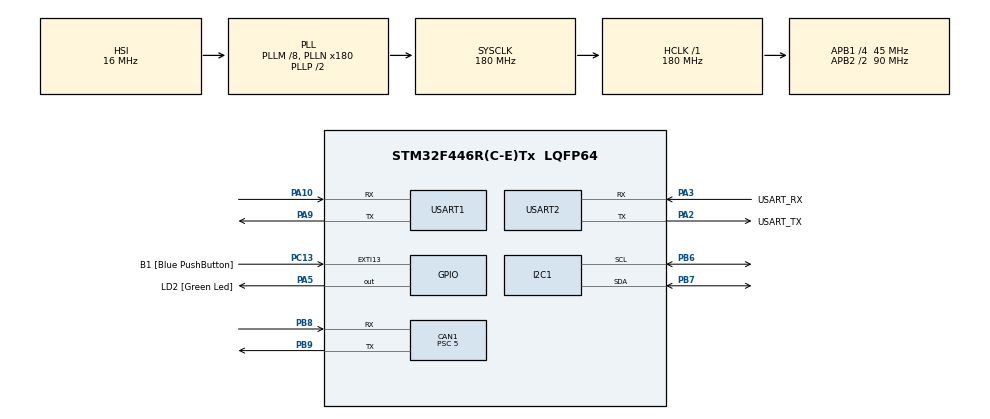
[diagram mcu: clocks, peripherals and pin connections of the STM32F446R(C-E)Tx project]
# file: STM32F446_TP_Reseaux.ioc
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CAN1.BS1=CAN_BS1_15TQ
CAN1.BS2=CAN_BS2_2TQ
CAN1.CalculateBaudRate=500000
CAN1.CalculateTimeBit=2000
CAN1.CalculateTimeQuantum=111.11111111111111
CAN1.Prescaler=5
FREERTOS.Tasks01=defaultTask,0,128,StartDefaultTask,Default,NULL,Dynamic,NULL,NULL
FREERTOS.configUSE_NEWLIB_REENTRANT=1
Mcu.Family=STM32F4
Mcu.Name=STM32F446R(C-E)Tx
Mcu.Package=LQFP64
NVIC.PriorityGroup=NVIC_PRIORITYGROUP_4
NVIC.TIM6_DAC_IRQn=true\:15\:0\:false\:false\:true\:false\:false\:true\:true
NVIC.TimeBase=TIM6_DAC_IRQn
NVIC.TimeBaseIP=TIM6
NVIC.USART1_IRQn=true\:5\:0\:false\:false\:true\:true\:true\:true\:true
PA10.Mode=Asynchronous
PA10.Signal=USART1_RX
PA13.GPIO_Label=TMS
PA13.Mode=Trace_Asynchronous_SW
PA13.Signal=SYS_JTMS-SWDIO
PA14.GPIO_Label=TCK
PA14.Mode=Trace_Asynchronous_SW
PA14.Signal=SYS_JTCK-SWCLK
PA2.GPIO_Label=USART_TX
PA2.Mode=Asynchronous
PA2.Signal=USART2_TX
PA3.GPIO_Label=USART_RX
PA3.Mode=Asynchronous
PA3.Signal=USART2_RX
PA5.GPIO_Label=LD2 [Green Led]
PA5.Signal=GPIO_Output
PA9.Mode=Asynchronous
PA9.Signal=USART1_TX
PB3.GPIO_Label=SWO
PB3.Mode=Trace_Asynchronous_SW
PB3.Signal=SYS_JTDO-SWO
PB6.Mode=I2C
PB6.Signal=I2C1_SCL
PB7.Mode=I2C
PB7.Signal=I2C1_SDA
PB8.Mode=CAN_Activate
PB8.Signal=CAN1_RX
PB9.Mode=CAN_Activate
PB9.Signal=CAN1_TX
PC13.GPIO_Label=B1 [Blue PushButton]
PC13.GPIO_ModeDefaultEXTI=GPIO_MODE_IT_FALLING
PC13.Signal=GPXTI13
PC14-OSC32_IN.Signal=RCC_OSC32_IN
PC15-OSC32_OUT.Signal=RCC_OSC32_OUT
PH0-OSC_IN.Signal=RCC_OSC_IN
PH1-OSC_OUT.Signal=RCC_OSC_OUT
ProjectManager.HeapSize=0x200
ProjectManager.StackSize=0x400
ProjectManager.TargetToolchain=STM32CubeIDE
RCC.AHBFreq_Value=180000000
RCC.APB1CLKDivider=RCC_HCLK_DIV4
RCC.APB1Freq_Value=45000000
RCC.APB1TimFreq_Value=90000000
RCC.APB2CLKDivider=RCC_HCLK_DIV2
RCC.APB2Freq_Value=90000000
RCC.APB2TimFreq_Value=180000000
RCC.CortexFreq_Value=180000000
RCC.FLatency-AdvancedSettings=FLASH_LATENCY_5
RCC.HCLKFreq_Value=180000000
RCC.HSE_VALUE=8000000
RCC.HSI_VALUE=16000000
RCC.LSE_VALUE=32768
RCC.PLLM=8
RCC.PLLN=180
RCC.SYSCLKFreq_VALUE=180000000
RCC.SYSCLKSource=RCC_SYSCLKSOURCE_PLLCLK
RCC.USBFreq_Value=180000000
RCC.VCOOutputFreq_Value=360000000
USART1.VirtualMode=VM_ASYNC
USART2.VirtualMode=VM_ASYNC
VP_FREERTOS_VS_CMSIS_V1.Mode=CMSIS_V1
VP_SYS_VS_tim6.Mode=TIM6
board=NUCLEO-F446RE

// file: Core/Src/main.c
/* USER CODE BEGIN Header */
/**
 ******************************************************************************
 * @file           : main.c
 * @brief          : Main program body
 ******************************************************************************
 * @attention
 *
 * Copyright (c) 2025 STMicroelectronics.
 * All rights reserved.
 *
 * This software is licensed under terms that can be found in the LICENSE file
 * in the root directory of this software component.
 * If no LICENSE file comes with this software, it is provided AS-IS.
 *
 ******************************************************************************
 */
/* USER CODE END Header */
#include "main.h"
#include "cmsis_os.h"
#include "can.h"
#include "i2c.h"
#include "usart.h"
#include "gpio.h"

/* USER CODE BEGIN Includes */
#include <stdio.h>
#include <stdlib.h>
#include "shell.h"
#include "BMP280_simple.h"
#include "mpu9250.h"
/* USER CODE END Includes */

/* USER CODE BEGIN PM */
#define BMP280_DEVADRESS (0x77 << 1) //url doc bmp280
#define BMP280_ID_REG 0xD0
#define BMP280_CRL_MEAS_REG 0xF4
#define BMP280_CALIB00 0x88

/* USER CODE END PM */

/* USER CODE BEGIN PV */
float K = 120.0;   // variable globale (à mettre en haut du fichier)

CAN_TxHeaderTypeDef header;
int A;  // coeffiecient de proportionnalite
/* USER CODE END PV */

void SystemClock_Config(void);
void MX_FREERTOS_Init(void);

/* USER CODE BEGIN 0 */

int __io_putchar(int ch)
{
	HAL_UART_Transmit(&huart1, (uint8_t*)&ch, 1, HAL_MAX_DELAY);
	HAL_UART_Transmit(&huart2, (uint8_t*)&ch, 1, HAL_MAX_DELAY);
	return ch;
}

int addition(int argc, char ** argv,h_shell_t *h_shell){
	int sum=0;
	for(int i=1;i<argc;i++){
		sum+=atoi(argv[i]);
	}
	printf("\r\nsum=%d\r\n",sum);
	return sum;
}

uint8_t drv_uart_receive(char * pData, uint16_t size){
	HAL_UART_Receive(&huart1, (uint8_t*)pData, size, HAL_MAX_DELAY);
	return 0;
}

uint8_t drv_uart_transmit(char * pData, uint16_t size){
	HAL_UART_Transmit(&huart1, (uint8_t*)pData, size, HAL_MAX_DELAY);
	return 0;
}

h_shell_t h_shell={
		.huart=&huart1,
		.drv_shell={
				.drv_shell_receive = drv_uart_receive,
				.drv_shell_transmit = drv_uart_transmit
		}

};

int GET_T(int argc, char ** argv,h_shell_t *h_shell){
	float temperature;
	BMP280_Read_Data(&temperature, NULL);
	printf("Température compensée sur 10 caractères %f\r\n", temperature);
	return 0;
}

int GET_P(int argc, char ** argv,h_shell_t *h_shell){
	float pression;
	BMP280_Read_Data(NULL, &pression);
	printf("Pression compensée sur 10 caractères %.3f \r\n",pression);
	return 0;
}

int SET_K(int argc, char ** argv, h_shell_t *h_shell){
	if(argc < 2){
		printf("Usage : SET_K <value>\r\n");
		return 1;
	}

	K = atof(argv[1]);  // conversion ASCII → float
	printf("Coefficient K mis à jour : %.3f\r\n", K);
	return 0;
}

int GET_K(int argc, char ** argv, h_shell_t *h_shell){
	printf("Coefficient K : %.3f\r\n", K);
	return 0;
}

int GET_A(int argc, char ** argv, h_shell_t *h_shell){
	return 0;
}

int GET_Rotations(int argc, char ** argv, h_shell_t *h_shell){
	mpu9250_data_t data;
	MPU9250_ReadAll(&data);
	MPU9250_PrintData(&data);
	return 0;
}

void taskShell(void *unused)
{
	shell_init(&h_shell);
	shell_add('a', addition, "Ma super addition", &h_shell);
	shell_add('t', GET_T, "Température compensée", &h_shell);
	shell_add('p', GET_P, "Pression compensée", &h_shell);
	shell_add('k', SET_K, "Fixe le coefficient K", &h_shell);
	shell_add('K', GET_K, "Affiche K", &h_shell);
	shell_add('A', GET_A, "Affiche l'angle", &h_shell);
	shell_add('r', GET_Rotations, "Affiche les données acceléromètre", &h_shell);
	shell_run(&h_shell);//shell_run contient une boucle infinie donc on ne retournera jamais de cette fonction
}

void taskCANMotor(void *unused)
{
	uint8_t TxData[2];
	uint32_t TxMailbox;
	float savedTemp = 25.0;
	/* Header configuration */
	header.StdId = 0x61;
	header.IDE = CAN_ID_STD;
	header.RTR = CAN_RTR_DATA;
	header.DLC = 3;
	header.TransmitGlobalTime=DISABLE;

	for (;;){
		BMP280_Read_Data(&savedTemp, NULL);
		/* Data */
		TxData[0] = (uint8_t) (25+K*savedTemp);
		TxData[1] = 0x01;      // Clockwise
		//TxData[2] = 10;       // speed = 10 ms

		HAL_CAN_AddTxMessage(&hcan1, &header,TxData, &TxMailbox);

		vTaskDelay(1000);
	}
}

void HAL_UART_RxCpltCallback(UART_HandleTypeDef *huart)
{

	if (huart->Instance==USART1){
		shell_uart_rx_callback(&h_shell);
	}
}

/* USER CODE END 0 */

int main(void)
{

  /* USER CODE BEGIN 1 */
	//	uint8_t RX_buffer[32];
	//	uint8_t TX_buffer = BMP280_ID_REG;   // 0xD0

  /* USER CODE END 1 */

  /* MCU Configuration--------------------------------------------------------*/

  /* Reset of all peripherals, Initializes the Flash interface and the Systick. */
  HAL_Init();

  /* Configure the system clock */
  SystemClock_Config();

  /* Initialize all configured peripherals */
  MX_GPIO_Init();
  MX_I2C1_Init();
  MX_USART2_UART_Init();
  MX_USART1_UART_Init();
  MX_CAN1_Init();
  /* USER CODE BEGIN 2 */
	printf("=========== STM32 5.0 CAN =========== \r\n");
	HAL_CAN_Start (&hcan1);

	printf("=========== STM32 Capteur =========== \r\n");
	BMP280_Init_complete();
	MPU9250_Init();

	if (xTaskCreate(
			taskShell,             // fonction
			"SHELL",                // nom
			512,                  // stack (en mots, pas en octets)
			NULL,                 // paramètre
			1, // priorité
			NULL                  // handle (optionnel)
	)!=pdPASS){
		printf("Error creating task shell\r\n");
		Error_Handler();
	}

	if (xTaskCreate(
			taskCANMotor,             // fonction
			"CAN MOTOR",                // nom
			128,                  // stack (en mots, pas en octets)
			NULL,                 // paramètre
			2, // priorité
			NULL                  // handle (optionnel)
	)!=pdPASS){
		printf("Error creating task motor\r\n");
		Error_Handler();
	}

	vTaskStartScheduler();
  /* USER CODE END 2 */

  /* Call init function for freertos objects (in cmsis_os2.c) */
  MX_FREERTOS_Init();

  /* Start scheduler */
  osKernelStart();

  /* We should never get here as control is now taken by the scheduler */

  /* Infinite loop */
	while (1)
	{

	}
}

void SystemClock_Config(void)
{
  RCC_OscInitTypeDef RCC_OscInitStruct = {0};
  RCC_ClkInitTypeDef RCC_ClkInitStruct = {0};

  /** Configure the main internal regulator output voltage
  */
  __HAL_RCC_PWR_CLK_ENABLE();
  __HAL_PWR_VOLTAGESCALING_CONFIG(PWR_REGULATOR_VOLTAGE_SCALE1);

  /** Initializes the RCC Oscillators according to the specified parameters
  * in the RCC_OscInitTypeDef structure.
  */
  RCC_OscInitStruct.OscillatorType = RCC_OSCILLATORTYPE_HSI;
  RCC_OscInitStruct.HSIState = RCC_HSI_ON;
  RCC_OscInitStruct.HSICalibrationValue = RCC_HSICALIBRATION_DEFAULT;
  RCC_OscInitStruct.PLL.PLLState = RCC_PLL_ON;
  RCC_OscInitStruct.PLL.PLLSource = RCC_PLLSOURCE_HSI;
  RCC_OscInitStruct.PLL.PLLM = 8;
  RCC_OscInitStruct.PLL.PLLN = 180;
  RCC_OscInitStruct.PLL.PLLP = RCC_PLLP_DIV2;
  RCC_OscInitStruct.PLL.PLLQ = 2;
  RCC_OscInitStruct.PLL.PLLR = 2;
  if (HAL_RCC_OscConfig(&RCC_OscInitStruct) != HAL_OK)
  {
    Error_Handler();
  }

  /** Activate the Over-Drive mode
  */
  if (HAL_PWREx_EnableOverDrive() != HAL_OK)
  {
    Error_Handler();
  }

  /** Initializes the CPU, AHB and APB buses clocks
  */
  RCC_ClkInitStruct.ClockType = RCC_CLOCKTYPE_HCLK|RCC_CLOCKTYPE_SYSCLK
                              |RCC_CLOCKTYPE_PCLK1|RCC_CLOCKTYPE_PCLK2;
  RCC_ClkInitStruct.SYSCLKSource = RCC_SYSCLKSOURCE_PLLCLK;
  RCC_ClkInitStruct.AHBCLKDivider = RCC_SYSCLK_DIV1;
  RCC_ClkInitStruct.APB1CLKDivider = RCC_HCLK_DIV4;
  RCC_ClkInitStruct.APB2CLKDivider = RCC_HCLK_DIV2;

  if (HAL_RCC_ClockConfig(&RCC_ClkInitStruct, FLASH_LATENCY_5) != HAL_OK)
  {
    Error_Handler();
  }
}

void HAL_TIM_PeriodElapsedCallback(TIM_HandleTypeDef *htim)
{
  if (htim->Instance == TIM6)
  {
    HAL_IncTick();
  }
}

void Error_Handler(void)
{
	__disable_irq();
	while (1)
	{
	}
}
